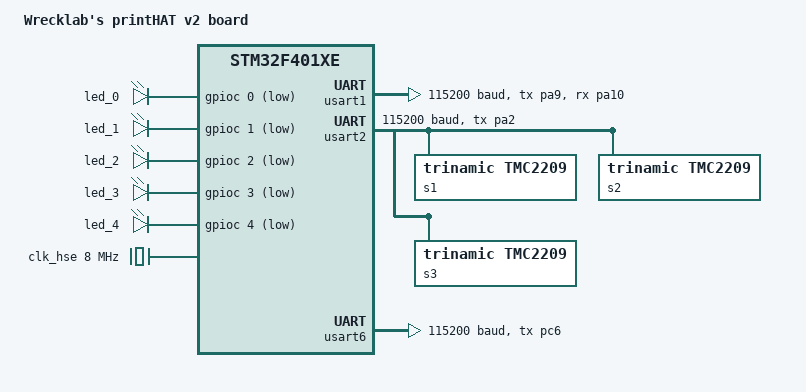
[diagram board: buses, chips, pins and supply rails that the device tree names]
/*
* Copyright (c) 2022, Stefano Cottafavi <stefano.cottafavi@gmail.com>
*
* SPDX-License-Identifier: Apache-2.0
*/

 /dts-v1/;
 #include <st/f4/stm32f401Xe.dtsi>
 #include <st/f4/stm32f401r(d-e)tx-pinctrl.dtsi>

 / {
	 model = "Wrecklab's printHAT v2 board";
	 compatible = "wrecklab,printhat2";

	 chosen {
		 zephyr,console = &usart1;
		 zephyr,shell-uart = &usart1;
		 //zephyr,console = &cdc_acm_uart0;
		 //zephyr,shell-uart = &cdc_acm_uart0;
		 zephyr,sram = &sram0;
		 zephyr,flash = &flash0;
		 zephyr,code-partition = &slot0_partition;
	 };

	 leds {
		compatible = "gpio-leds";
		led_0:led_0 {
			 gpios = <&gpioc 0 GPIO_ACTIVE_LOW>;
		};
		led_1:led_1 {
			gpios = <&gpioc 1 GPIO_ACTIVE_LOW>;
		};
		led_2:led_2 {
			gpios = <&gpioc 2 GPIO_ACTIVE_LOW>;
		};
		led_3:led_3 {
			gpios = <&gpioc 3 GPIO_ACTIVE_LOW>;
		};
		led_4:led_4 {
			gpios = <&gpioc 4 GPIO_ACTIVE_LOW>;
		};
	 };

	 aliases {
		h0 = &led_0;
		h1 = &led_1;
		h2 = &led_2;
		f0 = &led_3;
		f1 = &led_4;
	 };
 };

 &clk_hse {
	 //hse-bypass;
	 clock-frequency = <DT_FREQ_M(8)>;
	 status = "okay";
 };

 &pll {
	 div-m = <8>;
	 mul-n = <336>;
	 div-p = <4>;
	 div-q = <7>;
	 clocks = <&clk_hse>;
	 status = "okay";
 };

 &rcc {
	 clocks = <&pll>;
	 clock-frequency = <DT_FREQ_M(84)>;
	 ahb-prescaler = <1>;
	 apb1-prescaler = <2>;
	 apb2-prescaler = <1>;
 };

 /*zephyr_udc0: &usbotg_fs {
	pinctrl-0 = <&usb_otg_fs_dm_pa11 &usb_otg_fs_dp_pa12
		&usb_otg_fs_id_pa10>;
	pinctrl-names = "default";
	status = "okay";

	cdc_acm_uart0: cdc_acm_uart0 {
		compatible = "zephyr,cdc-acm-uart";
	};
};*/

 // USART1 tx:PA9 rx:PA10 	--- to/from RPi
 // USART2 tx:PA2 rx:PA3 	--- UART1, mot X,Y,Z
 // USART6 tx:PC6 rx:PC7	--- UART2, mot E0,E1
 &usart1 {
	pinctrl-0 = <&usart1_tx_pa9 &usart1_rx_pa10>;
	pinctrl-names = "default";
	current-speed = <115200>;
	status = "okay";
 };

 &usart2 {
	status = "okay";
	single-wire;

	pinctrl-0 = <&usart2_tx_pa2>;
	pinctrl-names = "default";
	current-speed = <115200>;

	dmas = 	<&dma1 6 4 0x28440 0x03>,	// Stream 6, Channel 4, ...
			<&dma1 5 4 0x28480 0x03>;	// Stream 5, Channel 4, ...
	dma-names = "tx", "rx";

	s1:tmc2209_1 {
		compatible = "trinamic,tmc2209";
		status = "okay";
		slaveaddr = <0>;
	};
	s2:tmc2209_2 {
		compatible = "trinamic,tmc2209";
		status = "okay";
		slaveaddr = <1>;
	};
	s3:tmc2209_3 {
		compatible = "trinamic,tmc2209";
		status = "okay";
		slaveaddr = <2>;
	};
 };

 &usart6 {
	status = "okay";
	single-wire;

	pinctrl-0 = <&usart6_tx_pc6>;
	pinctrl-names = "default";
	current-speed = <115200>;

	// see:
	// https://docs.zephyrproject.org/latest/build/dts/api/bindings/dma/st%2Cstm32-dma-v1.html#st-stm32-dma-v1
	dmas = 	<&dma2 6 5 0x28440 0x03>,	// Stream 6, Channel 5, ...
			<&dma2 1 5 0x28480 0x03>;	// Stream 1, Channel 5, ...
	dma-names = "tx", "rx";

	/*tmc5160 {
		compatible = "trinamic,tmc5160";
		status = "okay";
	};
	tmc5160 {
		compatible = "trinamic,tmc5160";
		status = "okay";
	};
	*/

 };


 // see
 // https://github.com/zephyrproject-rtos/zephyr/blob/db3f8c16e9c95801961a433c07f481bfcb385466/tests/drivers/uart/uart_async_api/boards/nucleo_f103rb.overlay
 &dma1 {
	status = "okay";
 };
 &dma2 {
	status = "okay";
 };


 /*&timers2 {
	status = "okay";

	pwm2: pwm {
		status = "okay";
		pinctrl-0 = <&tim2_ch1_pa5>;
		pinctrl-names = "default";
	};
 };*/


 /*&adc1 {
	pinctrl-0 = <&adc1_in0_pa0>;
	pinctrl-names = "default";
	status = "okay";
 };*/


 &flash0 {

	 partitions {
		 compatible = "fixed-partitions";
		 #address-cells = <1>;
		 #size-cells = <1>;

		 boot_partition: partition@0 {
			 label = "mcuboot";
			 reg = <0x00000000 0x00010000>;
			 read-only;
		 };

		 /*
		  * The flash starting at offset 0x10000 and ending at
		  * offset 0x1ffff is reserved for use by the application.
		  */

		 slot0_partition: partition@20000 {
			 label = "image-0";
			 reg = <0x00020000 0x00020000>;
		 };
		 slot1_partition: partition@40000 {
			 label = "image-1";
			 reg = <0x00040000 0x00020000>;
		 };
		 scratch_partition: partition@60000 {
			 label = "image-scratch";
			 reg = <0x00060000 0x00020000>;
		 };
	 };
 };
